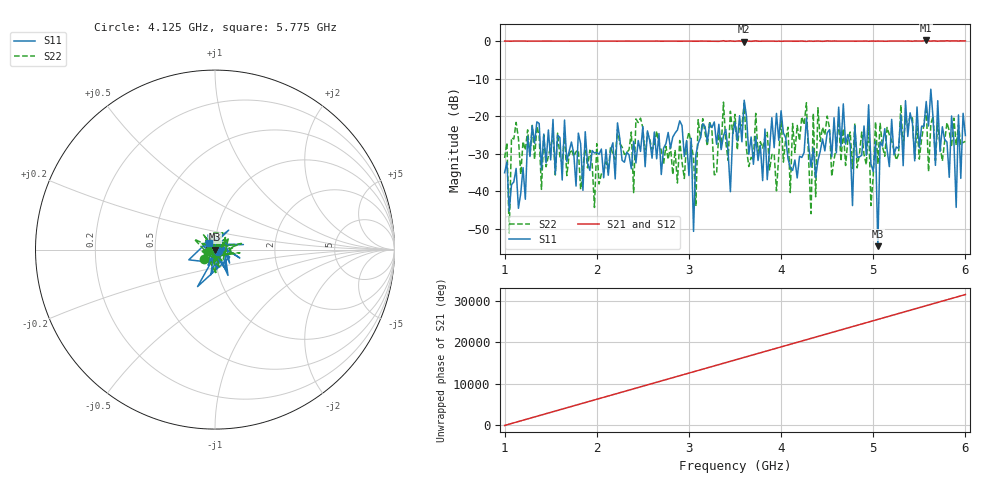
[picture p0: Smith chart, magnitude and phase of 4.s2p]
!Keysight Technologies,E5080A,MY55100170,A.11.70.00
!Date: Tuesday, August 20, 2019 22:43:20
!Correction: S11(Full 2 Port(1,2))
!S21(Full 2 Port(1,2))
!S12(Full 2 Port(1,2))
!S22(Full 2 Port(1,2))
!S2P File: Measurements: S11, S21, S12, S22:
# Hz S  dB  R 50
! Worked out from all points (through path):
!   201 points, 1 GHz to 6 GHz, reference 50 ohm
!   highest |S21| = 0.10 dB at 5.575 GHz (marker M1); lowest = -0.2 dB at 3.6 GHz (marker M2)
!   lowest |S11| = -54.5 dB at 5.05 GHz (marker M3), VSWR 1.00, Z = 49.8 - j0.0203 ohm
!   |S11| at or under -10 dB: start of sweep to end of sweep
!   |S22| runs from -51.1 to -16.3 dB; largest |S21 - S12| = 0.0097
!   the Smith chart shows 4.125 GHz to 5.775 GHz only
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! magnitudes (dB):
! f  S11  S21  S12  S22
! 1 GHz  -35.0  -0.1  0.0  -31.1
! 1.85 GHz  -39.7  -0.1  -0.1  -33.9
! 2.675 GHz  -24.6  -0.1  -0.1  -27.7
! 3.025 GHz  -25.9  -0.1  -0.1  -27.3
! 3.05 GHz  -50.6  -0.1  -0.1  -31.1
! 3.15 GHz  -22.0  -0.1  -0.1  -20.7
! 3.5 GHz  -21.7  -0.1  -0.1  -19.5
! 3.6 GHz  -15.8  -0.2  -0.2  -16.6
! 4.1 GHz  -33.7  -0.1  -0.1  -40.3
! 4.275 GHz  -20.5  -0.2  -0.2  -16.4
! 4.325 GHz  -33.5  -0.1  -0.1  -45.9
! 4.35 GHz  -28.5  -0.1  -0.1  -19.3
! 4.375 GHz  -36.3  -0.1  -0.1  -41.4
! 4.4 GHz  -31.8  0.0  -0.1  -17.8
! 4.675 GHz  -16.7  -0.1  -0.1  -23.3
! 4.775 GHz  -43.7  -0.1  -0.1  -33.9
! 4.95 GHz  -17.0  -0.1  -0.1  -21.5
! 5.05 GHz  -54.5  -0.1  -0.1  -32.7
! 5.075 GHz  -26.8  -0.1  -0.1  -21.9
! 5.175 GHz  -33.4  -0.1  0.0  -24.9
! 5.575 GHz  -16.1  0.1  0.1  -17.3
! 6 GHz  -25.1  0.0  0.0  -26.7
